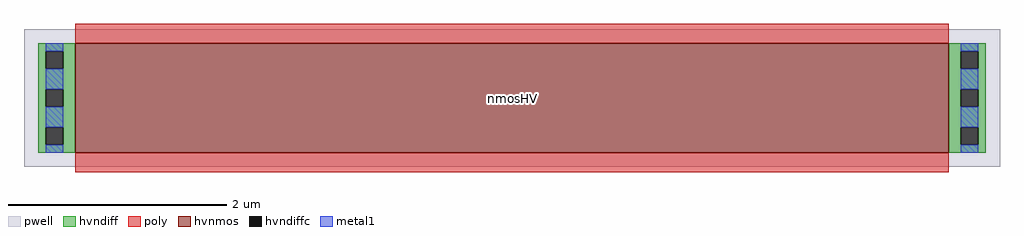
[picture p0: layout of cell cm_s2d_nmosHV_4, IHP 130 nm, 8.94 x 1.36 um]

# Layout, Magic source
magic
tech ihp-sg13cmos5l
<< pwell >>
rect -13 -13 881 113
<< hvnmos >>
rect 34 0 834 100
<< hvndiff >>
rect 0 93 34 100
rect 0 77 7 93
rect 23 77 34 93
rect 0 58 34 77
rect 0 42 7 58
rect 23 42 34 58
rect 0 23 34 42
rect 0 7 7 23
rect 23 7 34 23
rect 0 0 34 7
rect 834 93 868 100
rect 834 77 845 93
rect 861 77 868 93
rect 834 58 868 77
rect 834 42 845 58
rect 861 42 868 58
rect 834 23 868 42
rect 834 7 845 23
rect 861 7 868 23
rect 834 0 868 7
<< hvndiffc >>
rect 7 77 23 93
rect 7 42 23 58
rect 7 7 23 23
rect 845 77 861 93
rect 845 42 861 58
rect 845 7 861 23
<< poly >>
rect 34 100 834 118
rect 34 -18 834 0
<< metal1 >>
rect 7 93 23 100
rect 7 58 23 77
rect 7 23 23 42
rect 7 0 23 7
rect 845 93 861 100
rect 845 58 861 77
rect 845 23 861 42
rect 845 0 861 7
<< labels >>
flabel comment s 434 50 434 50 0 FreeSans 100 90 0 0 nmosHV
<< properties >>
string GDS_END 17884
string GDS_FILE custom_io/gds/sg13cmos5l_IOPadSingle2Diff.uniq.gds
string GDS_START 16648
<< end >>
